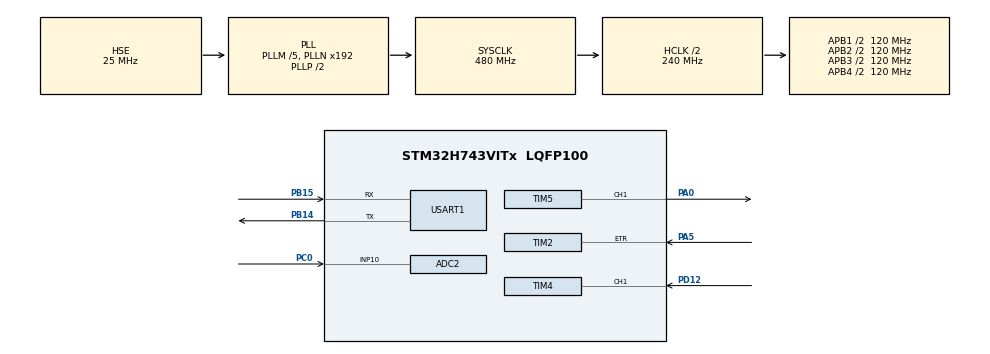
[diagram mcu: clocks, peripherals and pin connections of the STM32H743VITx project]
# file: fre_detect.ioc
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ADC2.Channel-2\#ChannelRegularConversion=ADC_CHANNEL_10
ADC2.ExternalTrigConv=ADC_EXTERNALTRIG_T15_TRGO
ADC2.NbrOfConversionFlag=1
ADC2.OffsetNumber-2\#ChannelRegularConversion=ADC_OFFSET_NONE
ADC2.OffsetSignedSaturation-2\#ChannelRegularConversion=DISABLE
ADC2.Rank-2\#ChannelRegularConversion=1
ADC2.SamplingTime-2\#ChannelRegularConversion=ADC_SAMPLETIME_1CYCLE_5
CORTEX_M7.AccessPermission-Cortex_Memory_Protection_Unit_Region0_Settings=MPU_REGION_FULL_ACCESS
CORTEX_M7.AccessPermission-Cortex_Memory_Protection_Unit_Region1_Settings=MPU_REGION_FULL_ACCESS
CORTEX_M7.AccessPermission-Cortex_Memory_Protection_Unit_Region2_Settings=MPU_REGION_FULL_ACCESS
CORTEX_M7.AccessPermission-Cortex_Memory_Protection_Unit_Region3_Settings=MPU_REGION_FULL_ACCESS
CORTEX_M7.AccessPermission-Cortex_Memory_Protection_Unit_Region4_Settings=MPU_REGION_FULL_ACCESS
CORTEX_M7.BaseAddress-Cortex_Memory_Protection_Unit_Region0_Settings=0x24000000
CORTEX_M7.BaseAddress-Cortex_Memory_Protection_Unit_Region1_Settings=0x30000000
CORTEX_M7.BaseAddress-Cortex_Memory_Protection_Unit_Region2_Settings=0x30020000
CORTEX_M7.BaseAddress-Cortex_Memory_Protection_Unit_Region3_Settings=0x30040000
CORTEX_M7.BaseAddress-Cortex_Memory_Protection_Unit_Region4_Settings=0x38000000
CORTEX_M7.CPU_DCache=Enabled
CORTEX_M7.CPU_ICache=Enabled
CORTEX_M7.Enable-Cortex_Memory_Protection_Unit_Region0_Settings=MPU_REGION_ENABLE
CORTEX_M7.Enable-Cortex_Memory_Protection_Unit_Region1_Settings=MPU_REGION_ENABLE
CORTEX_M7.Enable-Cortex_Memory_Protection_Unit_Region2_Settings=MPU_REGION_ENABLE
CORTEX_M7.Enable-Cortex_Memory_Protection_Unit_Region3_Settings=MPU_REGION_ENABLE
CORTEX_M7.Enable-Cortex_Memory_Protection_Unit_Region4_Settings=MPU_REGION_ENABLE
CORTEX_M7.IsBufferable-Cortex_Memory_Protection_Unit_Region0_Settings=MPU_ACCESS_BUFFERABLE
CORTEX_M7.IsCacheable-Cortex_Memory_Protection_Unit_Region0_Settings=MPU_ACCESS_CACHEABLE
CORTEX_M7.MPU_Control=MPU_PRIVILEGED_DEFAULT
CORTEX_M7.Size-Cortex_Memory_Protection_Unit_Region0_Settings=MPU_REGION_SIZE_512KB
CORTEX_M7.Size-Cortex_Memory_Protection_Unit_Region1_Settings=MPU_REGION_SIZE_128KB
CORTEX_M7.Size-Cortex_Memory_Protection_Unit_Region2_Settings=MPU_REGION_SIZE_128KB
CORTEX_M7.Size-Cortex_Memory_Protection_Unit_Region3_Settings=MPU_REGION_SIZE_32KB
CORTEX_M7.Size-Cortex_Memory_Protection_Unit_Region4_Settings=MPU_REGION_SIZE_64KB
CORTEX_M7.TypeExtField-Cortex_Memory_Protection_Unit_Region0_Settings=MPU_TEX_LEVEL1
CORTEX_M7.TypeExtField-Cortex_Memory_Protection_Unit_Region1_Settings=MPU_TEX_LEVEL1
CORTEX_M7.TypeExtField-Cortex_Memory_Protection_Unit_Region2_Settings=MPU_TEX_LEVEL1
CORTEX_M7.TypeExtField-Cortex_Memory_Protection_Unit_Region3_Settings=MPU_TEX_LEVEL1
CORTEX_M7.TypeExtField-Cortex_Memory_Protection_Unit_Region4_Settings=MPU_TEX_LEVEL1
Dma.ADC2.0.Direction=DMA_PERIPH_TO_MEMORY
Dma.ADC2.0.EventEnable=DISABLE
Dma.ADC2.0.FIFOMode=DMA_FIFOMODE_DISABLE
Dma.ADC2.0.Instance=DMA1_Stream0
Dma.ADC2.0.MemDataAlignment=DMA_MDATAALIGN_HALFWORD
Dma.ADC2.0.MemInc=DMA_MINC_ENABLE
Dma.ADC2.0.Mode=DMA_NORMAL
Dma.ADC2.0.PeriphDataAlignment=DMA_PDATAALIGN_HALFWORD
Dma.ADC2.0.PeriphInc=DMA_PINC_DISABLE
Dma.ADC2.0.Polarity=HAL_DMAMUX_REQ_GEN_RISING
Dma.ADC2.0.Priority=DMA_PRIORITY_LOW
Dma.ADC2.0.RequestNumber=1
Dma.ADC2.0.SignalID=NONE
Dma.ADC2.0.SyncEnable=DISABLE
Dma.ADC2.0.SyncPolarity=HAL_DMAMUX_SYNC_NO_EVENT
Dma.ADC2.0.SyncRequestNumber=1
Dma.ADC2.0.SyncSignalID=NONE
Dma.Request0=ADC2
Mcu.Family=STM32H7
Mcu.Name=STM32H743VITx
Mcu.Package=LQFP100
NVIC.DMA1_Stream0_IRQn=true\:0\:0\:false\:false\:true\:false\:true\:true
NVIC.PriorityGroup=NVIC_PRIORITYGROUP_4
NVIC.TIM15_IRQn=true\:0\:0\:false\:false\:true\:true\:true\:true
NVIC.TIM3_IRQn=true\:0\:0\:false\:false\:true\:true\:true\:true
NVIC.TIM4_IRQn=true\:0\:0\:false\:false\:true\:true\:true\:true
NVIC.USART1_IRQn=true\:0\:0\:false\:false\:true\:true\:true\:true
PA0.Signal=S_TIM5_CH1
PA13\ (JTMS/SWDIO).Mode=Serial_Wire
PA13\ (JTMS/SWDIO).Signal=DEBUG_JTMS-SWDIO
PA14\ (JTCK/SWCLK).Mode=Serial_Wire
PA14\ (JTCK/SWCLK).Signal=DEBUG_JTCK-SWCLK
PA5.Signal=S_TIM2_CH1_ETR
PB14.Mode=Asynchronous
PB14.Signal=USART1_TX
PB15.Mode=Asynchronous
PB15.Signal=USART1_RX
PC0.Signal=ADCx_INP10
PD12.Signal=S_TIM4_CH1
PH0-OSC_IN\ (PH0).Mode=HSE-External-Oscillator
PH0-OSC_IN\ (PH0).Signal=RCC_OSC_IN
PH1-OSC_OUT\ (PH1).Mode=HSE-External-Oscillator
PH1-OSC_OUT\ (PH1).Signal=RCC_OSC_OUT
ProjectManager.HeapSize=0x200
ProjectManager.StackSize=0x7400
ProjectManager.TargetToolchain=MDK-ARM V5.32
RCC.ADCFreq_Value=72000000
RCC.APB1Freq_Value=120000000
RCC.APB2Freq_Value=120000000
RCC.APB3Freq_Value=120000000
RCC.APB4Freq_Value=120000000
RCC.CortexFreq_Value=480000000
RCC.D1PPRE=RCC_APB3_DIV2
RCC.D2PPRE1=RCC_APB1_DIV2
RCC.D2PPRE2=RCC_APB2_DIV2
RCC.D3PPRE=RCC_APB4_DIV2
RCC.DIVM1=5
RCC.DIVM2=25
RCC.DIVN1=192
RCC.DIVN2=360
RCC.DIVP2=5
RCC.HCLKFreq_Value=240000000
RCC.HPRE=RCC_HCLK_DIV2
RCC.PLLSourceVirtual=RCC_PLLSOURCE_HSE
RCC.PWR_Regulator_Voltage_Scale=PWR_REGULATOR_VOLTAGE_SCALE0
RCC.ProductRev=revV
RCC.SYSCLKFreq_VALUE=480000000
RCC.SYSCLKSource=RCC_SYSCLKSOURCE_PLLCLK
RCC.USBFreq_Value=480000000
SH.ADCx_INP10.0=ADC2_INP10,IN10-Single-Ended
SH.S_TIM2_CH1_ETR.0=TIM2_ETR,ClockSourceETR_Mode2
SH.S_TIM4_CH1.0=TIM4_CH1,Input_Capture1_from_TI1
SH.S_TIM5_CH1.0=TIM5_CH1,PWM Generation1 CH1
TIM12.TIM_MasterOutputTrigger=TIM_TRGO_UPDATE
TIM12.TIM_MasterSlaveMode=TIM_MASTERSLAVEMODE_DISABLE
TIM15.Period=1
TIM15.Prescaler=49
TIM15.TIM_MasterOutputTrigger=TIM_TRGO_UPDATE
TIM2.ClockFilter=3
TIM2.TIM_MasterOutputTrigger=TIM_TRGO_RESET
TIM3.AutoReloadPreload=TIM_AUTORELOAD_PRELOAD_ENABLE
TIM3.Period=9999
TIM3.Prescaler=2399
TIM4.AutoReloadPreload=TIM_AUTORELOAD_PRELOAD_ENABLE
TIM4.Channel-Input_Capture1_from_TI1=TIM_CHANNEL_1
TIM4.ICFilter_CH1=8
TIM4.Prescaler=239
TIM5.AutoReloadPreload=TIM_AUTORELOAD_PRELOAD_ENABLE
TIM5.Channel-PWM\ Generation1\ CH1=TIM_CHANNEL_1
TIM5.Period=999
TIM5.Prescaler=239
TIM5.Pulse-PWM\ Generation1\ CH1=250
TIM7.Prescaler=239
USART1.VirtualMode-Asynchronous=VM_ASYNC
VP_TIM12_VS_ClockSourceINT.Mode=Internal
VP_TIM15_VS_ClockSourceINT.Mode=Internal
VP_TIM3_VS_ClockSourceINT.Mode=Internal
VP_TIM4_VS_ClockSourceINT.Mode=Internal
VP_TIM5_VS_ClockSourceINT.Mode=Internal
VP_TIM7_VS_ClockSourceINT.Mode=Enable_Timer
board=custom

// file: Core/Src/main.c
/* USER CODE BEGIN Header */
/**
 ******************************************************************************
 * @file           : main.c
 * @brief          : Main program body
 ******************************************************************************
 * @attention
 *
 * Copyright (c) 2023 STMicroelectronics.
 * All rights reserved.
 *
 * This software is licensed under terms that can be found in the LICENSE file
 * in the root directory of this software component.
 * If no LICENSE file comes with this software, it is provided AS-IS.
 *
 ******************************************************************************
 */
/* USER CODE END Header */
#include "main.h"
#include "adc.h"
#include "dma.h"
#include "tim.h"
#include "usart.h"
#include "gpio.h"

/* USER CODE BEGIN PTD */
uint8_t mode = 2;           // 1为捕获模式�?��?�测周法�?2为测频法�?3为外部时钟法
uint32_t PAUSE = 1;         // 调整高电平持续时�?，初始为1000Hz�?0.1占空�?
uint32_t PERIOD = 500;      // 调整频率
uint8_t mes_uart[20] = {0}; // 接收串口数据

uint32_t capture_state = 0;    // 设置捕获模式的状�?
uint32_t capture_buf[4] = {0}; // 接受捕获到的时间�?
float high_time = 0;
float low_time = 0;
float period_time = 0;
float high_time_old = 0;
float low_time_old = 0;
float period_time_old = 0; // 都是记录测量时间的变�?
uint32_t flag_cnt = 0;     // 测量十次取平均的标志�?
uint32_t new_flag = 0;     // �?测是否有串口更改标志�?
uint16_t adc_value[FFT_LENGTH];
uint32_t pwm_val = 0;
uint32_t pwm_flag = 0;

__IO uint8_t AdcConvEnd = 0;
/* USER CODE END PTD */

void SystemClock_Config(void);
static void MPU_Config(void);

int main(void)
{

  /* MPU Configuration--------------------------------------------------------*/
  MPU_Config();
/* Enable the CPU Cache */

  /* Enable I-Cache---------------------------------------------------------*/
  SCB_EnableICache();

  /* Enable D-Cache---------------------------------------------------------*/
  SCB_EnableDCache();

  /* MCU Configuration--------------------------------------------------------*/

  /* Reset of all peripherals, Initializes the Flash interface and the Systick. */
  HAL_Init();

  /* Configure the system clock */
  SystemClock_Config();

  /* Initialize all configured peripherals */
  MX_GPIO_Init();
  MX_DMA_Init();
  MX_TIM4_Init();
  MX_TIM5_Init();
  MX_TIM2_Init();
  MX_TIM3_Init();
  MX_TIM7_Init();
  MX_TIM12_Init();
  MX_TIM15_Init();
  MX_ADC2_Init();
  MX_USART1_UART_Init();

  /* Infinite loop */
  /* USER CODE BEGIN WHILE */
  // printf("Begin\n");
  // __HAL_TIM_SET_AUTORELOAD(&htim5, PERIOD - 1);
  // __HAL_TIM_SET_COMPARE(&htim5, TIM_CHANNEL_1, PAUSE * 100 - 1);
  // HAL_TIM_PWM_Start(&htim5, TIM_CHANNEL_1);
  // uint8_t _cnt_ = 0;
  while (1)
  {
		adc_start();
		for (uint16_t temp = 0; temp< FFT_LENGTH;temp++)
		{
			printf("%d\r\n", adc_value[temp]);
		}
    // if (mode == 1)
    //   mode_1();
    // else if (mode == 2)
    // {
    //   if (!_cnt_)
    //   {
    //     HAL_TIM_Base_Start(&htim2);
    //     HAL_TIM_Base_Start_IT(&htim3);
    //   }
    //   _cnt_ = 1;
    // }
    /* USER CODE END WHILE */

  }
}

void SystemClock_Config(void)
{
  RCC_OscInitTypeDef RCC_OscInitStruct = {0};
  RCC_ClkInitTypeDef RCC_ClkInitStruct = {0};

  /** Supply configuration update enable
  */
  HAL_PWREx_ConfigSupply(PWR_LDO_SUPPLY);

  /** Configure the main internal regulator output voltage
  */
  __HAL_PWR_VOLTAGESCALING_CONFIG(PWR_REGULATOR_VOLTAGE_SCALE1);

  while(!__HAL_PWR_GET_FLAG(PWR_FLAG_VOSRDY)) {}

  __HAL_RCC_SYSCFG_CLK_ENABLE();
  __HAL_PWR_VOLTAGESCALING_CONFIG(PWR_REGULATOR_VOLTAGE_SCALE0);

  while(!__HAL_PWR_GET_FLAG(PWR_FLAG_VOSRDY)) {}

  /** Initializes the RCC Oscillators according to the specified parameters
  * in the RCC_OscInitTypeDef structure.
  */
  RCC_OscInitStruct.OscillatorType = RCC_OSCILLATORTYPE_HSE;
  RCC_OscInitStruct.HSEState = RCC_HSE_ON;
  RCC_OscInitStruct.PLL.PLLState = RCC_PLL_ON;
  RCC_OscInitStruct.PLL.PLLSource = RCC_PLLSOURCE_HSE;
  RCC_OscInitStruct.PLL.PLLM = 5;
  RCC_OscInitStruct.PLL.PLLN = 192;
  RCC_OscInitStruct.PLL.PLLP = 2;
  RCC_OscInitStruct.PLL.PLLQ = 2;
  RCC_OscInitStruct.PLL.PLLR = 2;
  RCC_OscInitStruct.PLL.PLLRGE = RCC_PLL1VCIRANGE_2;
  RCC_OscInitStruct.PLL.PLLVCOSEL = RCC_PLL1VCOWIDE;
  RCC_OscInitStruct.PLL.PLLFRACN = 0;
  if (HAL_RCC_OscConfig(&RCC_OscInitStruct) != HAL_OK)
  {
    Error_Handler();
  }

  /** Initializes the CPU, AHB and APB buses clocks
  */
  RCC_ClkInitStruct.ClockType = RCC_CLOCKTYPE_HCLK|RCC_CLOCKTYPE_SYSCLK
                              |RCC_CLOCKTYPE_PCLK1|RCC_CLOCKTYPE_PCLK2
                              |RCC_CLOCKTYPE_D3PCLK1|RCC_CLOCKTYPE_D1PCLK1;
  RCC_ClkInitStruct.SYSCLKSource = RCC_SYSCLKSOURCE_PLLCLK;
  RCC_ClkInitStruct.SYSCLKDivider = RCC_SYSCLK_DIV1;
  RCC_ClkInitStruct.AHBCLKDivider = RCC_HCLK_DIV2;
  RCC_ClkInitStruct.APB3CLKDivider = RCC_APB3_DIV2;
  RCC_ClkInitStruct.APB1CLKDivider = RCC_APB1_DIV2;
  RCC_ClkInitStruct.APB2CLKDivider = RCC_APB2_DIV2;
  RCC_ClkInitStruct.APB4CLKDivider = RCC_APB4_DIV2;

  if (HAL_RCC_ClockConfig(&RCC_ClkInitStruct, FLASH_LATENCY_4) != HAL_OK)
  {
    Error_Handler();
  }
}

/* USER CODE BEGIN 4 */
void adc_start()
{
	printf("start_adc\n");
	MX_ADC2_Init();	//初始化调用放这里, 确保在MX_DMA_Init()初始化后�?
	HAL_Delay(100);	//有地方说这里可以等等电压稳定后再校准

	if (HAL_ADCEx_Calibration_Start(&hadc2, ADC_CALIB_OFFSET, ADC_SINGLE_ENDED) != HAL_OK)
	{
			printf("hadc1 error with HAL_ADCEx_Calibration_Start\r\n");
			Error_Handler();
	}

	if (HAL_ADC_Start_DMA(&hadc2, (uint32_t *)adc_value, FFT_LENGTH) != HAL_OK)
	{
			printf("hadc1 error with HAL_ADC_Start_DMA\r\n");
			Error_Handler();
	}

	HAL_TIM_Base_Start(&htim15);
	while (!AdcConvEnd);
	AdcConvEnd = 0;
	HAL_ADC_DeInit(&hadc2);
	HAL_TIM_Base_Stop(&htim15);
}

void HAL_ADC_ConvCpltCallback(ADC_HandleTypeDef* hadc)
{
	 AdcConvEnd = 1;
}
/* USER CODE END 4 */

/* MPU Configuration */

void MPU_Config(void)
{
  MPU_Region_InitTypeDef MPU_InitStruct = {0};

  /* Disables the MPU */
  HAL_MPU_Disable();

  /** Initializes and configures the Region and the memory to be protected
  */
  MPU_InitStruct.Enable = MPU_REGION_ENABLE;
  MPU_InitStruct.Number = MPU_REGION_NUMBER0;
  MPU_InitStruct.BaseAddress = 0x24000000;
  MPU_InitStruct.Size = MPU_REGION_SIZE_512KB;
  MPU_InitStruct.SubRegionDisable = 0x0;
  MPU_InitStruct.TypeExtField = MPU_TEX_LEVEL1;
  MPU_InitStruct.AccessPermission = MPU_REGION_FULL_ACCESS;
  MPU_InitStruct.DisableExec = MPU_INSTRUCTION_ACCESS_ENABLE;
  MPU_InitStruct.IsShareable = MPU_ACCESS_NOT_SHAREABLE;
  MPU_InitStruct.IsCacheable = MPU_ACCESS_CACHEABLE;
  MPU_InitStruct.IsBufferable = MPU_ACCESS_BUFFERABLE;

  HAL_MPU_ConfigRegion(&MPU_InitStruct);

  /** Initializes and configures the Region and the memory to be protected
  */
  MPU_InitStruct.Number = MPU_REGION_NUMBER1;
  MPU_InitStruct.BaseAddress = 0x30000000;
  MPU_InitStruct.Size = MPU_REGION_SIZE_128KB;
  MPU_InitStruct.IsCacheable = MPU_ACCESS_NOT_CACHEABLE;
  MPU_InitStruct.IsBufferable = MPU_ACCESS_NOT_BUFFERABLE;

  HAL_MPU_ConfigRegion(&MPU_InitStruct);

  /** Initializes and configures the Region and the memory to be protected
  */
  MPU_InitStruct.Number = MPU_REGION_NUMBER2;
  MPU_InitStruct.BaseAddress = 0x30020000;

  HAL_MPU_ConfigRegion(&MPU_InitStruct);

  /** Initializes and configures the Region and the memory to be protected
  */
  MPU_InitStruct.Number = MPU_REGION_NUMBER3;
  MPU_InitStruct.BaseAddress = 0x30040000;
  MPU_InitStruct.Size = MPU_REGION_SIZE_32KB;

  HAL_MPU_ConfigRegion(&MPU_InitStruct);

  /** Initializes and configures the Region and the memory to be protected
  */
  MPU_InitStruct.Number = MPU_REGION_NUMBER4;
  MPU_InitStruct.BaseAddress = 0x38000000;
  MPU_InitStruct.Size = MPU_REGION_SIZE_64KB;

  HAL_MPU_ConfigRegion(&MPU_InitStruct);
  /* Enables the MPU */
  HAL_MPU_Enable(MPU_PRIVILEGED_DEFAULT);

}

void Error_Handler(void)
{
  __disable_irq();
  while (1)
  {
  }
}
